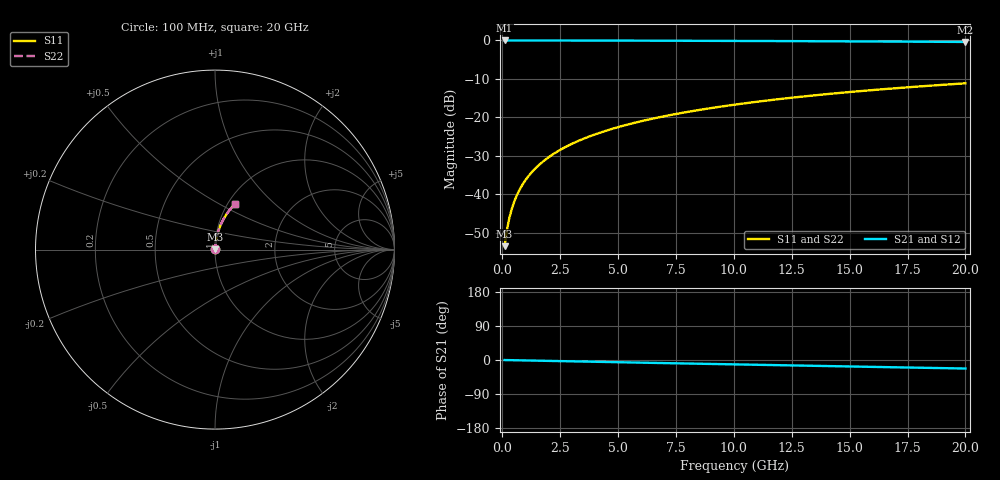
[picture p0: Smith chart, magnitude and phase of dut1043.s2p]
! Touchstone file exported from HFSS 2026.1.0
!  File:  C:/ffzhzh/LocalFiles/Ansys_Project_Files/temp_train_BSMRDL_1043_1783173809_18472.aedt
!  Generated:  10:04:43 PM Jul  4, 2026
!  Design:  BSMRDL
!  Project:  temp_train_BSMRDL_1043_1783173809_18472
! Variables:
!  h_bsmrdl = 4.67um
!  h_ox = 20um
!  h_rdl = 5um
!  h_sub = 80um
!  h_tmrdl = 5um
!  h_tsv = 80um
!  h_via = 3um
!  l_bsmrdl = 245.05um
!  l_sub = 645.05um
!  l_tmrdl = 200um
!  m_sub = 200um
!  pitch = 55.83um
!  r_tsv = 6um
!  s_tmrdl = 10um
!  w_bsmrdl = 14.14um
!  w_sub = 500um
!  w_tmrdl = 12um
!  x_tsv_center1 = 206um
!  x_tsv_center2 = 465.19um
!  x_tsv_center3 = 677.19um
!  x_tsv_center4 = 936.38um
!  x_tsv_center5 = 1148.38um
!  x_tsv_center6 = 1407.57um
# GHz S MA R 50.000000
! Terminal data exported
! Port[1] = BSM_RDL1_1_T1
! Port[2] = BSM_RDL1_1_T2
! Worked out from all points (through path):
!   200 points, 100 MHz to 20 GHz, reference 50 ohm
!   highest |S21| = -0.01 dB at 100 MHz (marker M1); lowest = -0.4 dB at 20 GHz (marker M2)
!   group delay of S21, straight-line fit = 3.12 ps
!   lowest |S11| = -53.5 dB at 100 MHz (marker M3), VSWR 1.00, Z = 50.1 + j0.157 ohm
!   |S11| at or under -10 dB: start of sweep to end of sweep
!   |S22| runs from -53.5 to -11.1 dB; largest |S21 - S12| = 2.7e-15
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0.1  0.002122 47.5  0.9986 -0.1  0.9986 -0.1  0.002122 47.5
! Gamma 0 0 0 0
! Port Impedance 50 0 50 0
0.2  0.003437 64.5  0.9985 -0.2  0.9985 -0.2  0.003437 64.5
0.3  0.004865 71.7  0.9985 -0.4  0.9985 -0.4  0.004866 71.7
0.4  0.006328 75.6  0.9984 -0.5  0.9984 -0.5  0.006328 75.6
0.5  0.007806 78.0  0.9984 -0.6  0.9984 -0.6  0.007806 78.0
0.7  0.01079 80.7  0.9983 -0.8  0.9983 -0.8  0.01079 80.7
0.8  0.01229 81.6  0.9983 -1.0  0.9983 -1.0  0.01229 81.6
1  0.01529 82.7  0.9982 -1.2  0.9982 -1.2  0.01529 82.7
1.2  0.0183 83.3  0.9981 -1.4  0.9981 -1.4  0.0183 83.3
1.4  0.02131 83.7  0.998 -1.7  0.998 -1.7  0.02131 83.7
1.7  0.02582 84.0  0.9979 -2.0  0.9979 -2.0  0.02582 84.0
2  0.03032 84.1  0.9977 -2.4  0.9977 -2.4  0.03032 84.1
2.7  0.04079 83.9  0.9971 -3.2  0.9971 -3.2  0.04079 83.9
3.5  0.05267 83.3  0.9963 -4.1  0.9963 -4.1  0.05267 83.3
4.2  0.06299 82.7  0.9955 -4.9  0.9955 -4.9  0.06299 82.7
5  0.07469 81.9  0.9944 -5.9  0.9944 -5.9  0.07469 81.9
6.8  0.1007 80.1  0.9915 -7.9  0.9915 -7.9  0.1007 80.1
8.3  0.122 78.5  0.9886 -9.6  0.9886 -9.6  0.122 78.5
10.1  0.1472 76.6  0.9848 -11.7  0.9848 -11.7  0.1472 76.6
13.4  0.1923 73.2  0.9763 -15.4  0.9763 -15.4  0.1923 73.2
16.7  0.2356 69.7  0.9663 -19.0  0.9663 -19.0  0.2356 69.7
20  0.277 66.3  0.9549 -22.5  0.9549 -22.5  0.277 66.3
